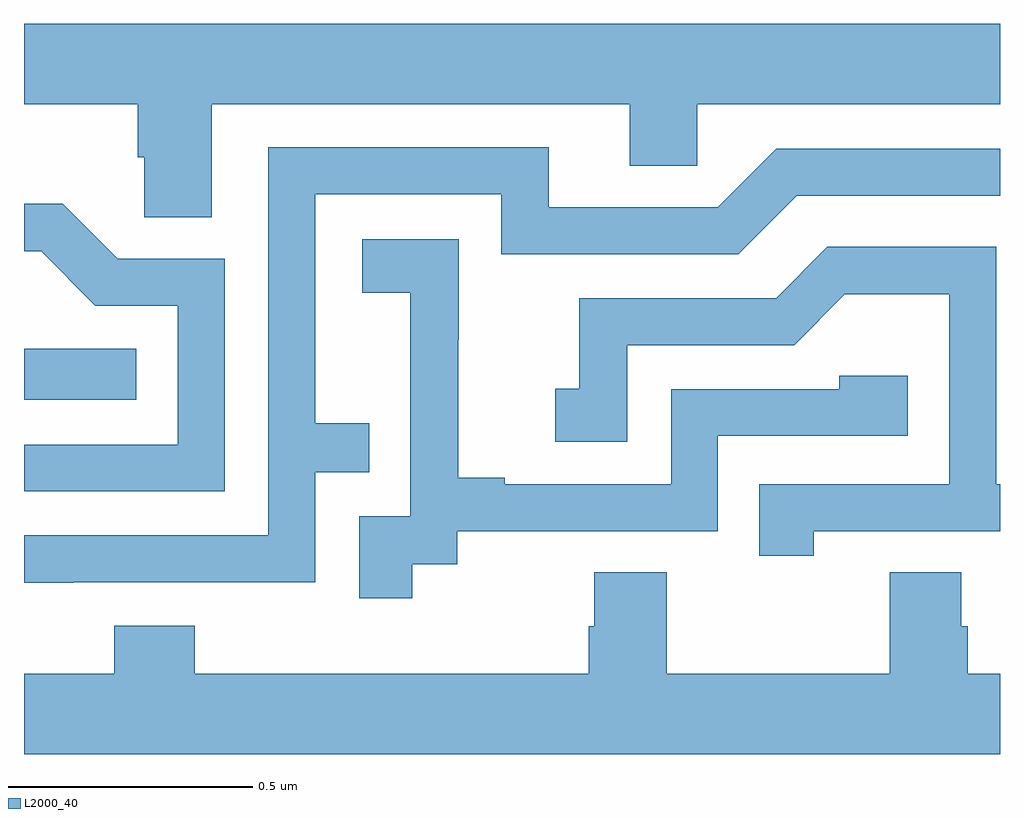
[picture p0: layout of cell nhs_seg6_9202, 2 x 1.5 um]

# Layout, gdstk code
import gdstk
lib = gdstk.Library(unit=1e-6, precision=1e-09)
def R(c, l, rs):  # rectangles x0, y0, x1, y1
    for r in rs: c.add(gdstk.rectangle(r[:2], r[2:], *l))
def P(c, l, *ps):  # polygons
    for p in ps: c.add(gdstk.Polygon(p, *l))
L2000_40 = (2000, 40)

nhs_seg6_9202 = lib.new_cell('nhs_seg6_9202')
R(nhs_seg6_9202, L2000_40, [(231,925.418,231.23,925.522)])
P(nhs_seg6_9202, L2000_40, [(231,926.024),(231.233,926.024),(231.233,925.915),(231.246,925.915),(231.246,925.792),(231.385,925.792),(231.385,926.024),(232.241,926.024),(232.241,925.897),(232.38,925.897),(232.38,926.024),(233,926.024),(233,926.188),(231,926.188)],
  [(231.101,925.044),(231.597,925.044),(231.597,925.269),(231.707,925.269),(231.707,925.37),(231.597,925.37),(231.597,925.839),(231.978,925.839),(231.978,925.716),(232.464,925.716),(232.584,925.836),(233,925.836),(233,925.932),(232.542,925.932),(232.422,925.812),(232.075,925.812),(232.075,925.935),(231.501,925.935),(231.501,925.14),(231,925.14),(231,925.043),(231.101,925.043)],
  [(231.411,925.707),(231.192,925.707),(231.079,925.82),(231,925.82),(231,925.722),(231.035,925.722),(231.146,925.611),(231.315,925.611),(231.315,925.326),(231,925.326),(231,925.23),(231.411,925.23)],
  [(231.796,925.081),(231.888,925.081),(231.888,925.149),(232.422,925.149),(232.422,925.344),(232.811,925.344),(232.811,925.467),(232.671,925.467),(232.671,925.44),(232.326,925.44),(232.326,925.245),(231.985,925.245),(231.985,925.258),(231.89,925.258),(231.89,925.541),(231.891,925.541),(231.891,925.747),(231.693,925.747),(231.693,925.637),(231.791,925.637),(231.791,925.409),(231.792,925.409),(231.792,925.179),(231.687,925.179),(231.687,925.011),(231.796,925.011)],
  [(232.618,925.149),(233,925.149),(233,925.245),(232.992,925.245),(232.992,925.731),(232.646,925.731),(232.541,925.626),(232.138,925.626),(232.138,925.441),(232.089,925.441),(232.089,925.332),(232.236,925.332),(232.236,925.53),(232.578,925.53),(232.682,925.634),(232.896,925.634),(232.896,925.245),(232.507,925.245),(232.507,925.098),(232.618,925.098)],
  [(233,924.856),(232.934,924.856),(232.934,924.954),(232.921,924.954),(232.921,925.064),(232.774,925.064),(232.774,924.856),(232.317,924.856),(232.317,925.064),(232.169,925.064),(232.169,924.954),(232.157,924.954),(232.157,924.856),(231.35,924.856),(231.35,924.955),(231.185,924.955),(231.185,924.856),(231,924.856),(231,924.692),(233,924.692)])

lib.write_gds('nhs_seg6_9202.gds')
